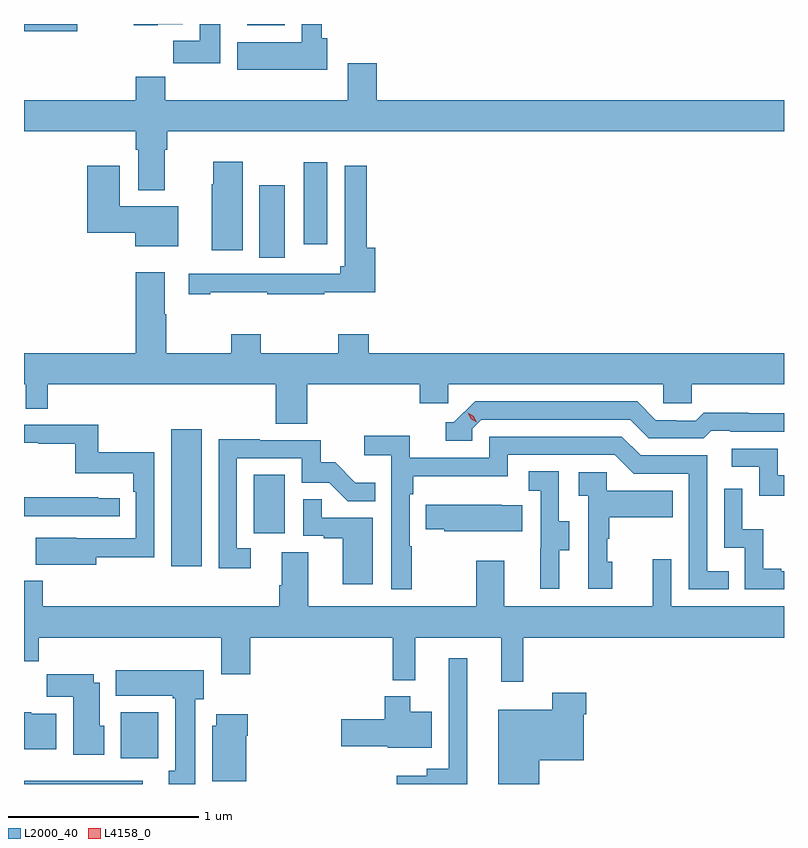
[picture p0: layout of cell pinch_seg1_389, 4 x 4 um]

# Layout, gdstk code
import gdstk
lib = gdstk.Library(unit=1e-6, precision=1e-09)
def R(c, l, rs):  # rectangles x0, y0, x1, y1
    for r in rs: c.add(gdstk.rectangle(r[:2], r[2:], *l))
def P(c, l, *ps):  # polygons
    for p in ps: c.add(gdstk.Polygon(p, *l))
L2000_40 = (2000, 40)
L4158_0 = (4158, 0)

pinch_seg1_389 = lib.new_cell('pinch_seg1_389')
R(pinch_seg1_389, L2000_40, [(998.609,528.317,999.235,528.334), (999.119,528.452,999.316,528.694), (999.383,529.464,999.544,530.185), (999.818,529.638,999.982,529.945), (999.848,531.088,999.982,531.469), (1000.082,531.159,1000.204,531.589), (998.609,532.279,998.89,532.317), (999.785,532.31,999.982,532.317)])
P(pinch_seg1_389, L2000_40, [(999.312,532.316),(999.445,532.316),(999.445,532.317),(999.187,532.317),(999.187,532.31),(999.312,532.31)],
  [(999.643,532.317),(999.533,532.317),(999.533,532.228),(999.394,532.228),(999.394,532.11),(999.643,532.11)],
  [(1000.204,532.242),(1000.177,532.242),(1000.177,532.317),(1000.07,532.317),(1000.07,532.222),(999.731,532.222),(999.731,532.076),(1000.204,532.076)],
  [(999.349,531.656),(999.362,531.656),(999.362,531.752),(1002.609,531.752),(1002.609,531.916),(1000.466,531.916),(1000.466,532.111),(1000.313,532.111),(1000.313,531.916),(999.353,531.916),(999.353,532.04),(999.197,532.04),(999.197,531.916),(998.609,531.916),(998.609,531.752),(999.197,531.752),(999.197,531.656),(999.209,531.656),(999.209,531.443),(999.349,531.443)],
  [(999.76,531.592),(999.605,531.592),(999.605,531.474),(999.596,531.474),(999.596,531.126),(999.76,531.126)],
  [(999.589,530.905),(999.889,530.905),(999.889,530.895),(1000.19,530.895),(1000.19,530.905),(1000.457,530.905),(1000.457,531.139),(1000.412,531.139),(1000.412,531.571),(1000.296,531.571),(1000.296,531.042),(1000.274,531.042),(1000.274,531.003),(999.477,531.003),(999.477,530.895),(999.589,530.895)],
  [(999.421,531.358),(999.112,531.358),(999.112,531.571),(998.942,531.571),(998.942,531.218),(999.194,531.218),(999.194,531.146),(999.421,531.146)],
  [(1000.1,530.42),(1000.691,530.42),(1000.691,530.322),(1000.842,530.322),(1000.842,530.42),(1001.973,530.42),(1001.973,530.322),(1002.123,530.322),(1002.123,530.42),(1002.609,530.42),(1002.609,530.584),(1000.424,530.584),(1000.424,530.683),(1000.264,530.683),(1000.264,530.584),(999.855,530.584),(999.855,530.683),(999.7,530.683),(999.7,530.584),(999.357,530.584),(999.357,530.789),(999.349,530.789),(999.349,531.01),(999.197,531.01),(999.197,530.584),(998.609,530.584),(998.609,530.42),(998.619,530.42),(998.619,530.293),(998.735,530.293),(998.735,530.42),(999.935,530.42),(999.935,530.212),(1000.1,530.212)],
  [(1000.968,530.187),(1001.016,530.235),(1001.799,530.235),(1001.898,530.136),(1002.187,530.136),(1002.226,530.175),(1002.325,530.175),(1002.325,530.172),(1002.609,530.172),(1002.609,530.269),(1002.42,530.269),(1002.42,530.272),(1002.187,530.272),(1002.145,530.229),(1002.042,530.229),(1002.042,530.232),(1001.935,530.232),(1001.836,530.331),(1000.983,530.331),(1000.872,530.22),(1000.829,530.22),(1000.829,530.124),(1000.968,530.124)],
  [(998.989,529.51),(999.294,529.51),(999.294,530.062),(999.001,530.062),(999.001,530.208),(998.609,530.208),(998.609,530.112),(998.683,530.112),(998.683,530.107),(998.88,530.107),(998.88,529.952),(999.185,529.952),(999.185,529.856),(999.198,529.856),(999.198,529.611),(998.885,529.611),(998.885,529.612),(998.671,529.612),(998.671,529.472),(998.989,529.472)],
  [(1000.651,529.568),(1000.638,529.568),(1000.638,529.841),(1000.658,529.841),(1000.658,529.937),(1001.154,529.937),(1001.154,530.049),(1001.718,530.049),(1001.817,529.95),(1002.108,529.95),(1002.108,529.341),(1002.317,529.341),(1002.317,529.437),(1002.204,529.437),(1002.204,530.046),(1001.854,530.046),(1001.755,530.145),(1001.058,530.145),(1001.058,530.034),(1000.64,530.034),(1000.64,530.15),(1000.401,530.15),(1000.401,530.048),(1000.542,530.048),(1000.542,529.341),(1000.651,529.341)],
  [(999.802,529.557),(999.729,529.557),(999.729,530.031),(1000.071,530.031),(1000.071,529.902),(1000.215,529.902),(1000.313,529.804),(1000.457,529.804),(1000.457,529.903),(1000.353,529.903),(1000.246,530.01),(1000.17,530.01),(1000.17,530.127),(999.851,530.127),(999.851,530.132),(999.633,530.132),(999.633,529.452),(999.802,529.452)],
  [(1002.609,529.941),(1002.576,529.941),(1002.576,530.082),(1002.333,530.082),(1002.333,529.986),(1002.48,529.986),(1002.48,529.833),(1002.609,529.833)],
  [(1001.425,529.546),(1001.479,529.546),(1001.479,529.701),(1001.424,529.701),(1001.424,529.964),(1001.265,529.964),(1001.265,529.861),(1001.328,529.861),(1001.328,529.557),(1001.327,529.557),(1001.327,529.344),(1001.425,529.344)],
  [(1001.704,529.488),(1001.679,529.488),(1001.679,529.607),(1001.689,529.607),(1001.689,529.721),(1002.023,529.721),(1002.023,529.861),(1001.676,529.861),(1001.676,529.959),(1001.529,529.959),(1001.529,529.835),(1001.58,529.835),(1001.58,529.344),(1001.704,529.344)],
  [(1002.609,529.437),(1002.595,529.437),(1002.595,529.45),(1002.5,529.45),(1002.5,529.658),(1002.39,529.658),(1002.39,529.87),(1002.294,529.87),(1002.294,529.56),(1002.402,529.56),(1002.402,529.341),(1002.609,529.341)],
  [(999.112,529.821),(998.999,529.821),(998.999,529.826),(998.609,529.826),(998.609,529.725),(999.112,529.725)],
  [(1000.444,529.719),(1000.175,529.719),(1000.175,529.817),(1000.08,529.817),(1000.08,529.623),(1000.187,529.623),(1000.187,529.611),(1000.286,529.611),(1000.286,529.368),(1000.444,529.368)],
  [(1001.231,529.783),(1001.123,529.783),(1001.123,529.786),(1000.723,529.786),(1000.723,529.657),(1000.821,529.657),(1000.821,529.646),(1001.231,529.646)],
  [(1001.237,529.088),(1002.609,529.088),(1002.609,529.252),(1002.015,529.252),(1002.015,529.501),(1001.918,529.501),(1001.918,529.252),(1001.137,529.252),(1001.137,529.492),(1000.99,529.492),(1000.99,529.252),(1000.105,529.252),(1000.105,529.538),(999.965,529.538),(999.965,529.364),(999.953,529.364),(999.953,529.252),(998.708,529.252),(998.708,529.387),(998.609,529.387),(998.609,528.964),(998.687,528.964),(998.687,529.088),(999.647,529.088),(999.647,528.894),(999.8,528.894),(999.8,529.088),(1000.549,529.088),(1000.549,528.863),(1000.667,528.863),(1000.667,529.088),(1001.12,529.088),(1001.12,528.855),(1001.237,528.855)],
  [(1000.942,528.979),(1000.845,528.979),(1000.845,528.397),(1000.73,528.397),(1000.73,528.361),(1000.571,528.361),(1000.571,528.317),(1000.942,528.317)],
  [(999.511,528.762),(999.556,528.762),(999.556,528.916),(999.092,528.916),(999.092,528.782),(999.391,528.782),(999.391,528.769),(999.404,528.769),(999.404,528.386),(999.371,528.386),(999.371,528.317),(999.511,528.317)],
  [(999.031,528.624),(999.007,528.624),(999.007,528.85),(998.977,528.85),(998.977,528.895),(998.728,528.895),(998.728,528.776),(998.867,528.776),(998.867,528.47),(999.031,528.47)],
  [(1001.32,528.443),(1001.554,528.443),(1001.554,528.683),(1001.567,528.683),(1001.567,528.796),(1001.389,528.796),(1001.389,528.709),(1001.105,528.709),(1001.105,528.317),(1001.32,528.317)],
  [(1000.756,528.697),(1000.642,528.697),(1000.642,528.778),(1000.508,528.778),(1000.508,528.657),(1000.278,528.657),(1000.278,528.515),(1000.524,528.515),(1000.524,528.509),(1000.756,528.509)],
  [(998.779,528.688),(998.646,528.688),(998.646,528.694),(998.609,528.694),(998.609,528.5),(998.779,528.5)],
  [(999.778,528.572),(999.786,528.572),(999.786,528.685),(999.62,528.685),(999.62,528.624),(999.599,528.624),(999.599,528.332),(999.778,528.332)])
P(pinch_seg1_389, L4158_0, [(1000.991,530.22),(1000.96,530.24),(1000.944,530.272),(1000.944,530.272),(1000.944,530.272),(1000.975,530.253),(1000.991,530.221),(1000.991,530.22)])

lib.write_gds('pinch_seg1_389.gds')
